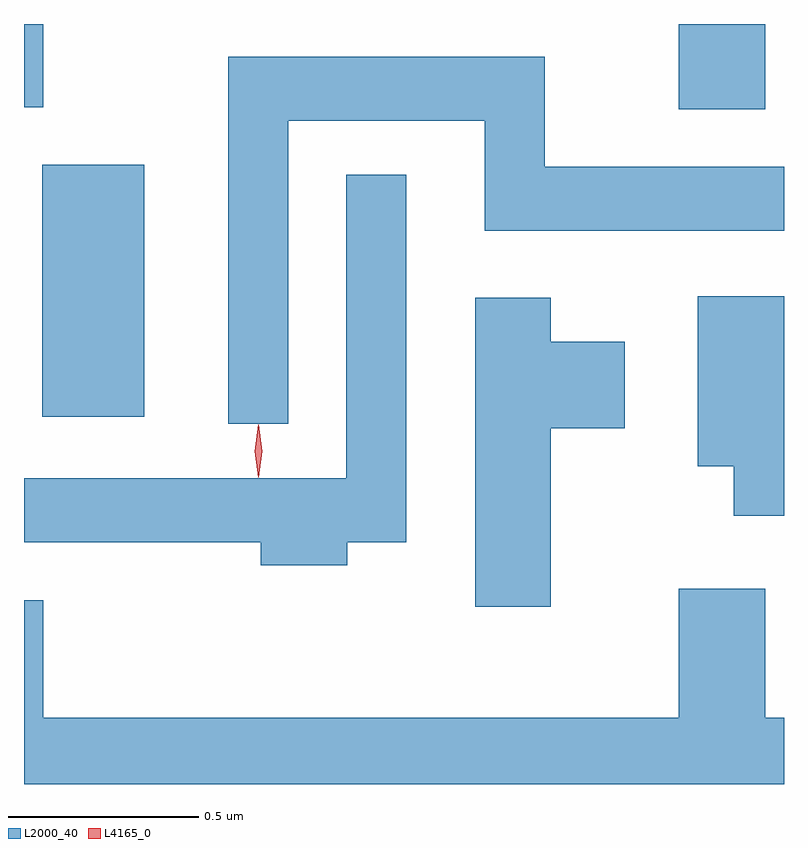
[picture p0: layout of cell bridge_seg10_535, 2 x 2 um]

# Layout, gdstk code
import gdstk
lib = gdstk.Library(unit=1e-6, precision=1e-09)
def R(c, l, rs):  # rectangles x0, y0, x1, y1
    for r in rs: c.add(gdstk.rectangle(r[:2], r[2:], *l))
def P(c, l, *ps):  # polygons
    for p in ps: c.add(gdstk.Polygon(p, *l))
L2000_40 = (2000, 40)
L4165_0 = (4165, 0)

bridge_seg10_535 = lib.new_cell('bridge_seg10_535')
R(bridge_seg10_535, L2000_40, [(884.966,2174.916,885.234,2175.579), (886.641,2175.726,886.869,2175.95), (884.918,2175.731,884.969,2175.95)])
P(bridge_seg10_535, L2000_40, [(885.614,2175.696),(886.131,2175.696),(886.131,2175.406),(886.918,2175.406),(886.918,2175.574),(886.289,2175.574),(886.289,2175.864),(885.456,2175.864),(885.456,2174.898),(885.614,2174.898)],
  [(885.769,2174.586),(885.924,2174.586),(885.924,2175.553),(885.766,2175.553),(885.766,2174.754),(884.918,2174.754),(884.918,2174.586),(885.541,2174.586),(885.541,2174.526),(885.769,2174.526)],
  [(886.918,2175.234),(886.691,2175.234),(886.691,2174.786),(886.786,2174.786),(886.786,2174.656),(886.918,2174.656)],
  [(886.304,2174.886),(886.499,2174.886),(886.499,2175.114),(886.304,2175.114),(886.304,2175.229),(886.106,2175.229),(886.106,2174.416),(886.304,2174.416)],
  [(886.918,2174.124),(886.869,2174.124),(886.869,2174.464),(886.641,2174.464),(886.641,2174.124),(884.969,2174.124),(884.969,2174.434),(884.918,2174.434),(884.918,2173.95),(886.918,2173.95)])
P(bridge_seg10_535, L4165_0, [(885.534,2174.757),(885.525,2174.826),(885.534,2174.896),(885.535,2174.896),(885.536,2174.896),(885.545,2174.826),(885.536,2174.757),(885.535,2174.757)],
  [(885.535,2174.759),(885.534,2174.76),(885.525,2174.826),(885.534,2174.892),(885.535,2174.893),(885.535,2174.892),(885.545,2174.826),(885.535,2174.76)])

lib.write_gds('bridge_seg10_535.gds')
